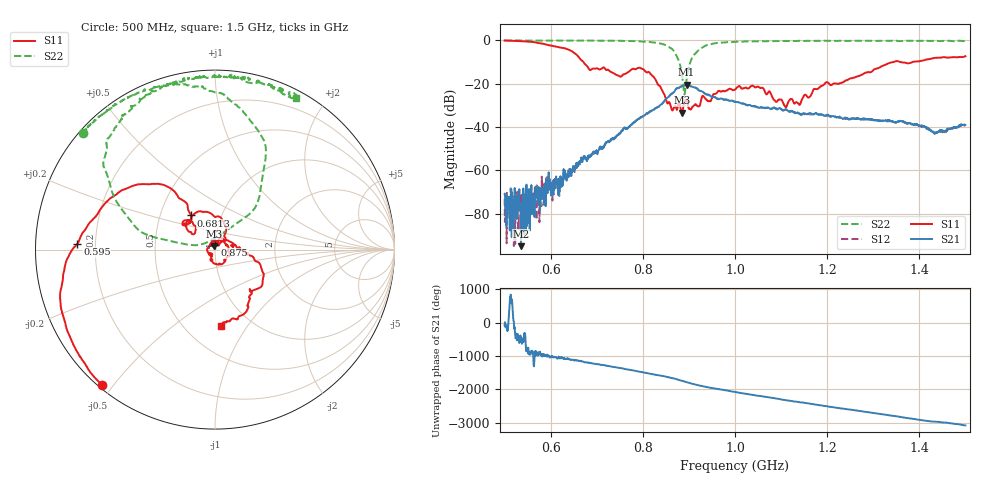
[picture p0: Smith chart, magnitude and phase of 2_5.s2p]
!Agilent Technologies,E8364B,US42250235,A.06.04.32
!Agilent E8364B: A.06.04.32
!Date: Friday, January 15, 2021 14:52:45
!Correction: S11(Full 2 Port(1,2)) S21(Full 2 Port(1,2)) S12(Full 2 Port(1,2)) S22(Full 2 Port(1,2))
!S2P File: Measurements: S11, S21, S12, S22:
# Hz S  dB  R 50
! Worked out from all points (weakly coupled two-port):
!   1601 points, 500 MHz to 1.5 GHz, reference 50 ohm
!   highest |S21| = -20.53 dB at 895 MHz (marker M1); lowest = -94.9 dB at 535.6 MHz (marker M2)
!   lowest |S11| = -33.4 dB at 884.4 MHz (marker M3), VSWR 1.04, Z = 49.2 + j1.98 ohm
!   |S11| at or under -10 dB: 670.9 MHz to 1.345 GHz (674.1 MHz wide, 66.9 % of centre); 1.359 GHz to 1.386 GHz (27.61 MHz wide, 2.01 % of centre)
!   |S22| runs from -25.0 to -0.1 dB; largest |S21 - S12| = 0.002
!   S11 on the Smith chart (normalised r, x): 500 MHz: 0.01, -0.47; 595 MHz: 0.13, +0.02; 681.2 MHz: 0.71, +0.29; 875 MHz: 1.00, +0.05; 1.5 GHz: 0.73, -0.76
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5e8  -0.14 -130.0  -70.84 -75.3  -73.13 -26.2  -0.13 138.5
5.35625e8  -0.46 -146.9  -94.92 -166.2  -77.78 -82.4  -0.14 135.2
5.5e8  -0.65 -154.7  -76.04 -57.7  -73.93 -125.6  -0.16 134.3
5.95e8  -2.30 177.7  -66.43 89.5  -65.65 88.9  -0.15 129.9
6.21875e8  -3.36 161.2  -67.59 12.4  -64.18 30.4  -0.19 127.1
6.66875e8  -9.17 124.9  -55.95 -80.4  -55.70 -80.4  -0.19 121.5
6.8125e8  -12.65 125.3  -53.24 -119.8  -54.50 -114.7  -0.19 120.1
7.5e8  -16.70 138.8  -42.92 82.3  -43.10 84.0  -0.26 110.4
7.95e8  -12.86 110.6  -35.73 -36.2  -35.73 -36.5  -0.56 101.3
8.3375e8  -20.72 56.4  -30.69 -137.4  -30.74 -137.5  -1.32 86.3
8.75e8  -31.41 88.2  -22.04 95.3  -22.18 95.6  -8.02 51.1
8.84375e8  -33.39 109.8  -21.21 58.9  -21.29 58.8  -14.91 51.5
8.95e8  -27.87 80.2  -20.53 15.7  -20.61 16.0  -17.97 168.6
9.05625e8  -31.56 109.7  -21.30 -25.9  -21.43 -25.9  -8.64 168.1
9.23125e8  -30.34 89.3  -23.31 -86.1  -23.23 -85.7  -4.21 153.6
1e9  -22.79 -5.4  -28.48 81.3  -28.37 81.8  -0.76 120.4
1.05625e9  -22.00 -86.1  -30.77 -42.8  -31.06 -43.5  -0.42 111.7
1.109375e9  -30.70 -132.3  -31.78 -160.0  -32.09 -161.1  -0.36 104.6
1.166875e9  -24.43 70.9  -34.09 81.0  -34.07 83.1  -0.35 97.2
1.33375e9  -10.60 -25.4  -37.10 104.2  -37.30 104.9  -0.31 79.1
1.435e9  -8.10 -65.8  -42.65 -89.7  -42.51 -89.7  -0.25 70.6
1.5e9  -7.39 -85.7  -39.06 157.7  -39.12 157.7  -0.36 61.8
